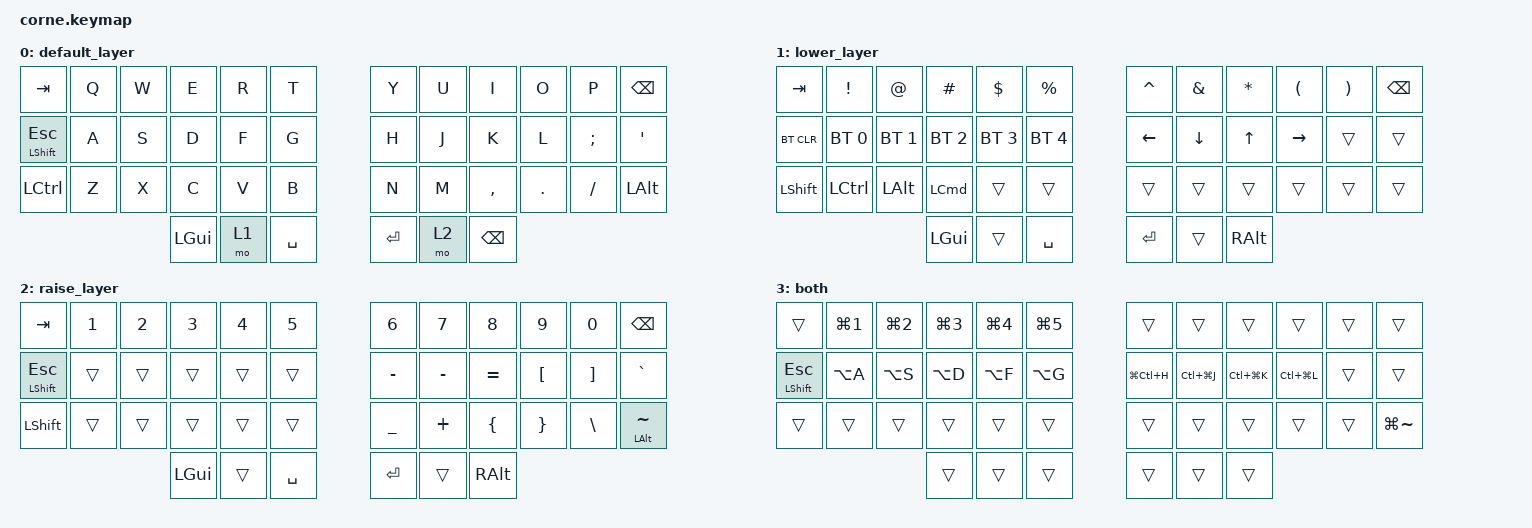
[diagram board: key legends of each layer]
/*
 * Copyright (c) 2020 The ZMK Contributors
 *
 * SPDX-License-Identifier: MIT
 */

#include <behaviors.dtsi>
#include <dt-bindings/zmk/bt.h>
#include <dt-bindings/zmk/keys.h>

/ {
    keymap {
        compatible = "zmk,keymap";

        default_layer {
            // -----------------------------------------------------------------------------------------
            // |  TAB |  Q  |  W  |  E  |  R  |  T  |   |  Y  |  U   |  I  |  O  |  P  | BKSP |
            // | CTRL |  A  |  S  |  D  |  F  |  G  |   |  H  |  J   |  K  |  L  |  ;  |  '   |
            // | SHFT |  Z  |  X  |  C  |  V  |  B  |   |  N  |  M   |  ,  |  .  |  /  | ESC  |
            //                    | GUI | LWR | SPC |   | ENT | RSE  | ALT |

            bindings = <
&kp TAB             &kp Q  &kp W  &kp E     &kp R  &kp T        &kp Y    &kp U  &kp I          &kp O    &kp P     &kp BSPC
&mt LEFT_SHIFT ESC  &kp A  &kp S  &kp D     &kp F  &kp G        &kp H    &kp J  &kp K          &kp L    &kp SEMI  &kp SQT
&kp LCTRL           &kp Z  &kp X  &kp C     &kp V  &kp B        &kp N    &kp M  &kp COMMA      &kp DOT  &kp FSLH  &kp LEFT_ALT
                                  &kp LGUI  &mo 1  &kp SPACE    &kp RET  &mo 2  &kp BACKSPACE
            >;
        };

        lower_layer {
            // -----------------------------------------------------------------------------------------
            // |  TAB |  1  |  2  |  3  |  4  |  5  |   |  6  |  7  |  8  |  9  |  0  | BKSP |
            // | BTCLR| BT1 | BT2 | BT3 | BT4 | BT5 |   | LFT | DWN |  UP | RGT |     |      |
            // | SHFT |     |     |     |     |     |   |     |     |     |     |     |      |
            //                    | GUI |     | SPC |   | ENT |     | ALT |

            bindings = <
&kp TAB     &kp EXCLAMATION  &kp AT_SIGN   &kp HASH          &kp DOLLAR    &kp PERCENT     &kp CARET  &kp AMPERSAND  &kp ASTERISK  &kp LEFT_PARENTHESIS  &kp RIGHT_PARENTHESIS  &kp BSPC
&bt BT_CLR  &bt BT_SEL 0     &bt BT_SEL 1  &bt BT_SEL 2      &bt BT_SEL 3  &bt BT_SEL 4    &kp LEFT   &kp DOWN       &kp UP        &kp RIGHT             &trans                 &trans
&kp LSHFT   &kp LCTRL        &kp LEFT_ALT  &kp LEFT_COMMAND  &trans        &trans          &trans     &trans         &trans        &trans                &trans                 &trans
                                           &kp LGUI          &trans        &kp SPACE       &kp RET    &trans         &kp RALT
            >;
        };

        raise_layer {
            // -----------------------------------------------------------------------------------------
            // |  TAB |  !  |  @  |  #  |  $  |  %  |   |  ^  |  &  |  *  |  (  |  )  | BKSP |
            // | CTRL |     |     |     |     |     |   |  -  |  =  |  [  |  ]  |  \  |  `   |
            // | SHFT |     |     |     |     |     |   |  _  |  +  |  {  |  }  | "|" |  ~   |
            //                    | GUI |     | SPC |   | ENT |     | ALT |

            bindings = <
&kp TAB             &kp NUMBER_1  &kp NUMBER_2  &kp NUMBER_3  &kp NUMBER_4  &kp NUMBER_5    &kp NUMBER_6  &kp NUMBER_7  &kp NUMBER_8  &kp NUMBER_9      &kp NUMBER_0       &kp BSPC
&mt LEFT_SHIFT ESC  &trans        &trans        &trans        &trans        &trans          &kp MINUS     &kp MINUS     &kp EQUAL     &kp LEFT_BRACKET  &kp RIGHT_BRACKET  &kp GRAVE
&kp LSHFT           &trans        &trans        &trans        &trans        &trans          &kp UNDER     &kp PLUS      &kp LBRC      &kp RBRC          &kp BACKSLASH      &mt LEFT_ALT TILDE
                                                &kp LGUI      &trans        &kp SPACE       &kp RET       &trans        &kp RALT
            >;
        };

        both {
            bindings = <
&trans                 &kp LG(NUMBER_1)  &kp LG(NUMBER_2)  &kp LG(NUMBER_3)  &kp LG(NUMBER_4)  &kp LG(NUMBER_5)    &trans         &trans         &trans         &trans         &trans  &trans
&mt LEFT_SHIFT ESCAPE  &kp LA(A)         &kp LA(S)         &kp LA(D)         &kp LA(F)         &kp LA(G)           &kp LG(LC(H))  &kp LC(LG(J))  &kp LC(LG(K))  &kp LC(LG(L))  &trans  &trans
&trans                 &trans            &trans            &trans            &trans            &trans              &trans         &trans         &trans         &trans         &trans  &kp LG(TILDE)
                                                           &trans            &trans            &trans              &trans         &trans         &trans
            >;
        };
    };

    conditional_layers {
        compatible = "zmk,conditional-layers";

        if-both {
            if-layers = <1 2>;
            then-layer = <3>;
        };
    };
};
